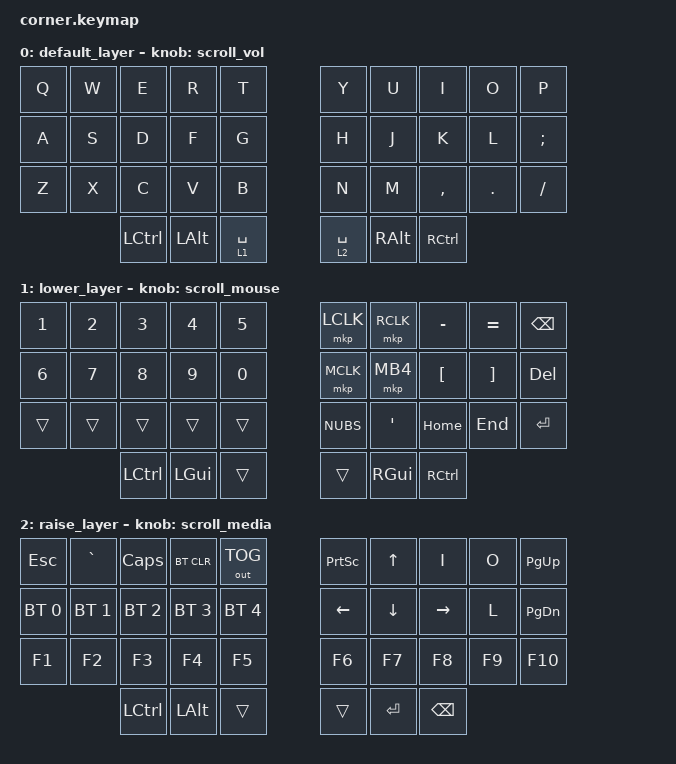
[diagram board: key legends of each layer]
#include <behaviors.dtsi>
#include <dt-bindings/zmk/keys.h>
#include <dt-bindings/zmk/bt.h>
#include <dt-bindings/zmk/pointing.h>
#include <dt-bindings/zmk/outputs.h>

/ {
    behaviors {
        // Behavior untuk Volume (Layer 0)
        scroll_vol: scroll_vol {
            compatible = "zmk,behavior-sensor-rotate";
            #sensor-binding-cells = <0>;
            bindings = <&kp C_VOL_UP>, <&kp C_VOL_DN>; 
        };

        // Behavior untuk Mouse Scroll (Layer 1)
        scroll_mouse: scroll_mouse {
            compatible = "zmk,behavior-sensor-rotate";
            #sensor-binding-cells = <0>;
            bindings = <&msc SCRL_Y(30)>, <&msc SCRL_Y(-30)>;
        };

        // Behavior untuk Next/Prev Media (Layer 2)
        scroll_media: scroll_media {
            compatible = "zmk,behavior-sensor-rotate";
            #sensor-binding-cells = <0>;
            bindings = <&kp C_NEXT>, <&kp C_PREV>; 
        };
    };

    keymap {
        compatible = "zmk,keymap";
        
        default_layer { // Layer 0
            bindings = <
                &kp Q    &kp W    &kp E     &kp R    &kp T        &kp Y       &kp U     &kp I     &kp O   &kp P
                &kp A    &kp S    &kp D     &kp F    &kp G        &kp H       &kp J     &kp K     &kp L   &kp SEMI
                &kp Z    &kp X    &kp C     &kp V    &kp B        &kp N       &kp M     &kp COMMA &kp DOT &kp SLASH
                                  &kp LCTRL &kp LALT &lt 1 SPACE  &lt 2 SPACE &kp RALT  &kp RCTRL
            >;
            // Volume di layer default
            sensor-bindings = <&scroll_vol>;
        };

        lower_layer { // Layer 1
            bindings = <
                &kp N1   &kp N2   &kp N3    &kp N4   &kp N5     &mkp LCLK &mkp RCLK &kp MINUS &kp EQUAL   &kp BSPC
                &kp N6   &kp N7   &kp N8    &kp N9   &kp N0     &mkp MCLK &mkp MB4  &kp LBKT  &kp RBKT    &kp DEL
                &trans   &trans   &trans    &trans   &trans     &kp NUBS  &kp SQT   &kp HOME  &kp END     &kp ENTER
                                  &kp LCTRL &kp LGUI &trans     &trans    &kp RGUI  &kp RCTRL
            >;
            // Mouse scroll di layer 1 (Lower)
            sensor-bindings = <&scroll_mouse>;
        }; // <-- Tambahkan kurung kurawal penutup ini

        raise_layer { // Layer 2
            bindings = <
                &kp ESC      &kp GRAVE    &kp CAPS     &bt BT_CLR     &out OUT_TOG  &kp PSCRN &kp UP    &kp I     &kp O   &kp PG_UP
                &bt BT_SEL 0 &bt BT_SEL 1 &bt BT_SEL 2 &bt BT_SEL 3   &bt BT_SEL 4  &kp LEFT  &kp DOWN  &kp RIGHT &kp L   &kp PG_DN
                &kp F1       &kp F2       &kp F3       &kp F4         &kp F5        &kp F6    &kp F7    &kp F8    &kp F9  &kp F10
                                          &kp LCTRL    &kp LALT       &trans        &trans    &kp RET   &kp BSPC
            >;
            // Media Next/Prev di layer 2 (Raise)
            sensor-bindings = <&scroll_media>;
        };
    };
};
